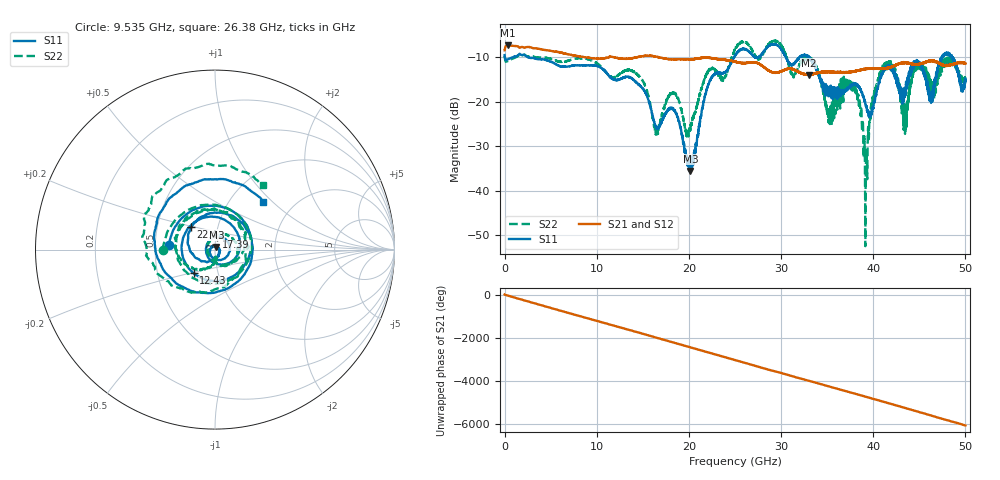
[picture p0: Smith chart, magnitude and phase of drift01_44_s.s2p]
!Created with skrf (http://scikit-rf.org).
# Hz S RI R 50.0
!freq ReS11 ImS11 ReS21 ImS21 ReS12 ImS12 ReS22 ImS22
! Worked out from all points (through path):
!   10001 points, 300 kHz to 50 GHz, reference 50 ohm
!   highest |S21| = -7.33 dB at 325.3 MHz (marker M1); lowest = -14.0 dB at 33.02 GHz (marker M2)
!   group delay of S21, straight-line fit = 335 ps
!   lowest |S11| = -35.6 dB at 20.17 GHz (marker M3), VSWR 1.03, Z = 50.8 + j1.46 ohm
!   |S11| at or under -10 dB: 2.565 GHz to 24.91 GHz (22.35 GHz wide, 163 % of centre); 30.5 GHz to 32.01 GHz (1.51 GHz wide, 4.83 % of centre); 33.05 GHz to 47.41 GHz (14.36 GHz wide, 35.7 % of centre)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
!   |S22| runs from -52.5 to -6.2 dB; largest |S21 - S12| = 0.0094
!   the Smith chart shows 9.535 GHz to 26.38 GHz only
!   S11 on the Smith chart (normalised r, x): 9.535 GHz: 0.59, +0.03; 12.43 GHz: 0.76, -0.21; 17.39 GHz: 1.01, +0.14; 22.4 GHz: 0.74, +0.20; 26.38 GHz: 1.43, +0.88
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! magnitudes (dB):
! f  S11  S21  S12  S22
! 300 kHz  -9.5  -8.4  -8.5  -9.6
! 325.3 MHz  -10.5  -7.3  -7.3  -10.9
! 8.335 GHz  -11.8  -9.9  -9.9  -10.2
! 9.535 GHz  -11.8  -10.2  -10.2  -10.8
! 12.43 GHz  -15.0  -10.2  -10.2  -13.9
! 16.67 GHz  -26.0  -10.0  -10.0  -27.1
! 17.39 GHz  -23.1  -10.3  -10.3  -20.6
! 20.17 GHz  -35.6  -10.5  -10.5  -25.9
! 22.4 GHz  -14.7  -10.2  -10.2  -12.5
! 25 GHz  -9.6  -11.0  -11.0  -8.4
! 26.38 GHz  -8.5  -11.3  -11.3  -7.0
! 33.02 GHz  -10.0  -14.0  -13.8  -10.0
! 33.34 GHz  -10.8  -13.8  -13.8  -10.5
! 35.23 GHz  -17.4  -13.2  -13.2  -22.6
! 37.99 GHz  -16.0  -13.2  -13.1  -16.8
! 39.17 GHz  -20.7  -12.6  -12.6  -41.5
! 40.16 GHz  -20.1  -12.5  -12.5  -17.6
! 41.67 GHz  -12.2  -12.3  -12.4  -11.7
! 43.37 GHz  -18.1  -11.3  -11.3  -22.3
! 44.87 GHz  -11.1  -11.6  -11.6  -11.6
! 46.23 GHz  -19.2  -10.7  -10.8  -15.8
! 50 GHz  -15.3  -11.4  -11.5  -15.0
